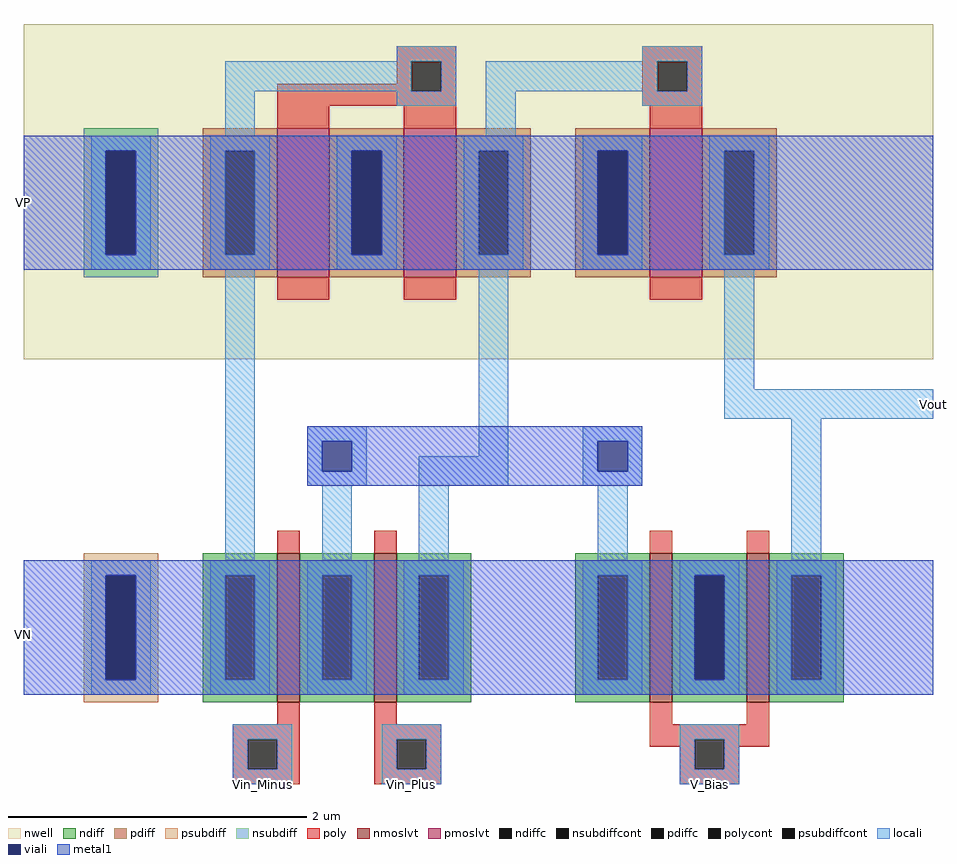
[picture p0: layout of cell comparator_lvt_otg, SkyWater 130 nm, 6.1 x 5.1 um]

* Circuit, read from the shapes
.subckt comparator_lvt_otg VP VN Vin_Minus Vin_Plus V_Bias Vout
XM1 n1 Vin_Minus n2 VN sky130_fd_pr__nfet_01v8_lvt w=1 l=0.15
XM2 n3 Vin_Plus n1 VN sky130_fd_pr__nfet_01v8_lvt w=1 l=0.15
XM3 VN V_Bias n1 VN sky130_fd_pr__nfet_01v8_lvt w=1 l=0.15
XM4 Vout V_Bias VN VN sky130_fd_pr__nfet_01v8_lvt w=1 l=0.15
XM5 VP n2 n2 VP sky130_fd_pr__pfet_01v8_lvt w=1 l=0.35
XM6 n3 n2 VP VP sky130_fd_pr__pfet_01v8_lvt w=1 l=0.35
XM7 Vout n3 VP VP sky130_fd_pr__pfet_01v8_lvt w=1 l=0.35
.ends

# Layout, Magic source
magic
tech sky130A
<< nwell >>
rect -140 -50 470 175
<< pmoslvt >>
rect 30 5 65 105
rect 115 5 150 105
rect 280 5 315 105
<< nmoslvt >>
rect 30 -280 45 -180
rect 95 -280 110 -180
rect 280 -280 295 -180
rect 345 -280 360 -180
<< ndiff >>
rect -20 -195 30 -180
rect -20 -265 -5 -195
rect 15 -265 30 -195
rect -20 -280 30 -265
rect 45 -195 95 -180
rect 45 -265 60 -195
rect 80 -265 95 -195
rect 45 -280 95 -265
rect 110 -195 160 -180
rect 110 -265 125 -195
rect 145 -265 160 -195
rect 110 -280 160 -265
rect 230 -195 280 -180
rect 230 -265 245 -195
rect 265 -265 280 -195
rect 230 -280 280 -265
rect 295 -195 345 -180
rect 295 -265 310 -195
rect 330 -265 345 -195
rect 295 -280 345 -265
rect 360 -195 410 -180
rect 360 -265 375 -195
rect 395 -265 410 -195
rect 360 -280 410 -265
<< pdiff >>
rect -20 90 30 105
rect -20 20 -5 90
rect 15 20 30 90
rect -20 5 30 20
rect 65 90 115 105
rect 65 20 80 90
rect 100 20 115 90
rect 65 5 115 20
rect 150 90 200 105
rect 150 20 165 90
rect 185 20 200 90
rect 150 5 200 20
rect 230 90 280 105
rect 230 20 245 90
rect 265 20 280 90
rect 230 5 280 20
rect 315 90 365 105
rect 315 20 330 90
rect 350 20 365 90
rect 315 5 365 20
<< ndiffc >>
rect -5 -265 15 -195
rect 60 -265 80 -195
rect 125 -265 145 -195
rect 245 -265 265 -195
rect 310 -265 330 -195
rect 375 -265 395 -195
<< pdiffc >>
rect -5 20 15 90
rect 80 20 100 90
rect 165 20 185 90
rect 245 20 265 90
rect 330 20 350 90
<< psubdiff >>
rect -100 -195 -50 -180
rect -100 -265 -85 -195
rect -65 -265 -50 -195
rect -100 -280 -50 -265
<< nsubdiff >>
rect -100 90 -50 105
rect -100 20 -85 90
rect -65 20 -50 90
rect -100 5 -50 20
<< psubdiffcont >>
rect -85 -265 -65 -195
<< nsubdiffcont >>
rect -85 20 -65 90
<< poly >>
rect 110 150 150 160
rect 110 135 120 150
rect 30 130 120 135
rect 140 130 150 150
rect 30 120 150 130
rect 275 150 315 160
rect 275 130 285 150
rect 305 130 315 150
rect 275 120 315 130
rect 30 105 65 120
rect 115 105 150 120
rect 280 105 315 120
rect 30 -10 65 5
rect 115 -10 150 5
rect 280 -10 315 5
rect 30 -180 45 -165
rect 95 -180 110 -165
rect 280 -180 295 -165
rect 345 -180 360 -165
rect 30 -295 45 -280
rect 0 -305 45 -295
rect 0 -325 10 -305
rect 30 -325 45 -305
rect 0 -335 45 -325
rect 95 -295 110 -280
rect 280 -295 295 -280
rect 345 -295 360 -280
rect 95 -305 140 -295
rect 95 -325 110 -305
rect 130 -325 140 -305
rect 280 -305 360 -295
rect 280 -310 310 -305
rect 95 -335 140 -325
rect 300 -325 310 -310
rect 330 -310 360 -305
rect 330 -325 340 -310
rect 300 -335 340 -325
<< polycont >>
rect 120 130 140 150
rect 285 130 305 150
rect 10 -325 30 -305
rect 110 -325 130 -305
rect 310 -325 330 -305
<< locali >>
rect 110 150 150 160
rect 275 150 315 160
rect -5 130 120 150
rect 140 130 150 150
rect -5 100 15 130
rect 110 120 150 130
rect 170 130 285 150
rect 305 130 315 150
rect 170 100 190 130
rect 275 120 315 130
rect -95 90 -55 100
rect -95 20 -85 90
rect -65 20 -55 90
rect -95 10 -55 20
rect -15 90 25 100
rect -15 20 -5 90
rect 15 20 25 90
rect -15 10 25 20
rect 70 90 110 100
rect 70 20 80 90
rect 100 20 110 90
rect 70 10 110 20
rect 155 90 195 100
rect 155 20 165 90
rect 185 20 195 90
rect 155 10 195 20
rect 235 90 275 100
rect 235 20 245 90
rect 265 20 275 90
rect 235 10 275 20
rect 320 90 360 100
rect 320 20 330 90
rect 350 20 360 90
rect 320 10 360 20
rect -5 -185 15 10
rect 50 -105 90 -95
rect 50 -125 60 -105
rect 80 -125 90 -105
rect 165 -115 185 10
rect 330 -70 350 10
rect 330 -90 470 -70
rect 50 -135 90 -125
rect 125 -135 185 -115
rect 235 -105 275 -95
rect 235 -125 245 -105
rect 265 -125 275 -105
rect 235 -135 275 -125
rect 60 -185 80 -135
rect 125 -185 145 -135
rect 245 -185 265 -135
rect 375 -185 395 -90
rect -95 -195 -55 -185
rect -95 -265 -85 -195
rect -65 -265 -55 -195
rect -95 -275 -55 -265
rect -15 -195 25 -185
rect -15 -265 -5 -195
rect 15 -265 25 -195
rect -15 -275 25 -265
rect 50 -195 90 -185
rect 50 -265 60 -195
rect 80 -265 90 -195
rect 50 -275 90 -265
rect 115 -195 155 -185
rect 115 -265 125 -195
rect 145 -265 155 -195
rect 115 -275 155 -265
rect 235 -195 275 -185
rect 235 -265 245 -195
rect 265 -265 275 -195
rect 235 -275 275 -265
rect 300 -195 340 -185
rect 300 -265 310 -195
rect 330 -265 340 -195
rect 300 -275 340 -265
rect 365 -195 405 -185
rect 365 -265 375 -195
rect 395 -265 405 -195
rect 365 -275 405 -265
rect 0 -305 40 -295
rect 0 -325 10 -305
rect 30 -325 40 -305
rect 0 -335 40 -325
rect 100 -305 140 -295
rect 100 -325 110 -305
rect 130 -325 140 -305
rect 100 -335 140 -325
rect 300 -305 340 -295
rect 300 -325 310 -305
rect 330 -325 340 -305
rect 300 -335 340 -325
<< viali >>
rect -85 20 -65 90
rect 80 20 100 90
rect 245 20 265 90
rect 60 -125 80 -105
rect 245 -125 265 -105
rect -85 -265 -65 -195
rect 310 -265 330 -195
<< metal1 >>
rect -140 90 470 100
rect -140 20 -85 90
rect -65 20 80 90
rect 100 20 245 90
rect 265 20 470 90
rect -140 10 470 20
rect 50 -105 275 -95
rect 50 -125 60 -105
rect 80 -125 245 -105
rect 265 -125 275 -105
rect 50 -135 275 -125
rect -140 -195 470 -185
rect -140 -265 -85 -195
rect -65 -265 310 -195
rect 330 -265 470 -195
rect -140 -275 470 -265
<< labels >>
rlabel metal1 -140 55 -140 55 1 VP
port 1 n
rlabel metal1 -140 -235 -140 -235 7 VN
port 2 w
rlabel locali 20 -335 20 -335 5 Vin_Minus
port 3 s
rlabel locali 120 -335 120 -335 5 Vin_Plus
port 4 s
rlabel locali 320 -335 320 -335 5 V_Bias
port 5 s
rlabel locali 470 -80 470 -80 3 Vout
port 6 e
<< end >>
